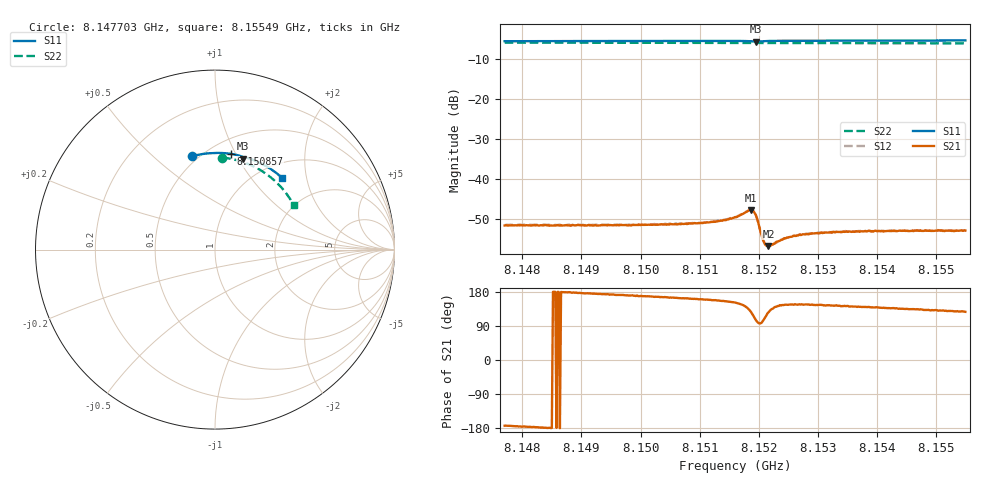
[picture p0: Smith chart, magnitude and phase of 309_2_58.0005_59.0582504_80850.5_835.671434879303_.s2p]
#  HZ  S  RI  R  50.00
! Rohde & Schwarz Vector Network Analyzer
! Rohde-Schwarz,ZNB20-2Port,1311601062101988,3.16
! Created: UTC 3/21/2024, 1:04:07 AM
! freq[Hz]  re:S11  im:S11  re:S21  im:S21  re:S12  im:S12  re:S22  im:S22
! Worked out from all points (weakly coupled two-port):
!   401 points, 8.147703 GHz to 8.15549 GHz, reference 50 ohm
!   highest |S21| = -47.73 dB at 8.151869 GHz (marker M1); lowest = -56.8 dB at 8.152161 GHz (marker M2)
!   lowest |S11| = -5.5 dB at 8.151947 GHz (marker M3), VSWR 3.25, Z = 37.2 + j52.4 ohm
!   |S11| at or under -10 dB: nowhere
!   |S22| runs from -6.0 to -5.8 dB; largest |S21 - S12| = 0.00013
!   S11 on the Smith chart (normalised r, x): 8.147703 GHz: 0.46, +0.67; 8.150857 GHz: 0.63, +0.96; 8.15549 GHz: 1.26, +1.45
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8.1477029e9  -0.1298 0.5193  -0.0026 -0.000297  -0.00265 -0.000237  0.0391 0.5127
8.1490073e9  -0.0405 0.5362  -0.00263 0.000157  -0.00265 0.000206  0.123 0.4979
8.1503117e9  0.0504 0.5375  -0.00262 0.000622  -0.00266 0.000661  0.2025 0.4693
8.1508568e9  0.0885 0.5334  -0.00264 0.00089  -0.00264 0.000918  0.234 0.4539
8.151071e9  0.1033 0.531  -0.00266 0.000997  -0.00266 0.001  0.246 0.4471
8.1512851e9  0.1185 0.528  -0.00271 0.00114  -0.00274 0.0012  0.2579 0.4398
8.1515966e9  0.141 0.5221  -0.00294 0.00158  -0.0029 0.00164  0.2747 0.4291
8.1518108e9  0.1564 0.5134  -0.00289 0.00272  -0.00289 0.00276  0.2859 0.4211
8.1518692e9  0.1588 0.5093  -0.00243 0.00331  -0.0024 0.00337  0.2888 0.4189
8.1519081e9  0.1586 0.5067  -0.00177 0.00356  -0.00173 0.00359  0.2908 0.4173
8.1519471e9  0.1573 0.5059  -0.000981 0.00343  -0.000945 0.00344  0.2925 0.4158
8.151986e9  0.1567 0.5073  -0.000426 0.00288  -0.000388 0.00289  0.2945 0.4145
8.1520444e9  0.1591 0.5104  -0.000279 0.00199  -0.00028 0.00194  0.2976 0.4126
8.1520833e9  0.1621 0.5116  -0.000469 0.00158  -0.000455 0.00157  0.2995 0.4111
8.1521223e9  0.1653 0.5123  -0.00065 0.00132  -0.000617 0.00135  0.3015 0.4095
8.1521612e9  0.1686 0.5122  -0.000844 0.00118  -0.000818 0.00119  0.3036 0.4081
8.1524727e9  0.1922 0.5075  -0.00153 0.00104  -0.0015 0.00107  0.3191 0.3955
8.152609e9  0.2017 0.5041  -0.00163 0.00105  -0.00162 0.0011  0.3257 0.3899
8.152901e9  0.2212 0.4967  -0.00174 0.00116  -0.00171 0.0012  0.3396 0.3775
8.1532904e9  0.2461 0.4856  -0.00173 0.00127  -0.00173 0.0013  0.3571 0.3599
8.1542054e9  0.3015 0.4548  -0.00164 0.00153  -0.00161 0.00154  0.3946 0.316
8.1554904e9  0.372 0.4014  -0.00137 0.00181  -0.00137 0.00181  0.4382 0.248
